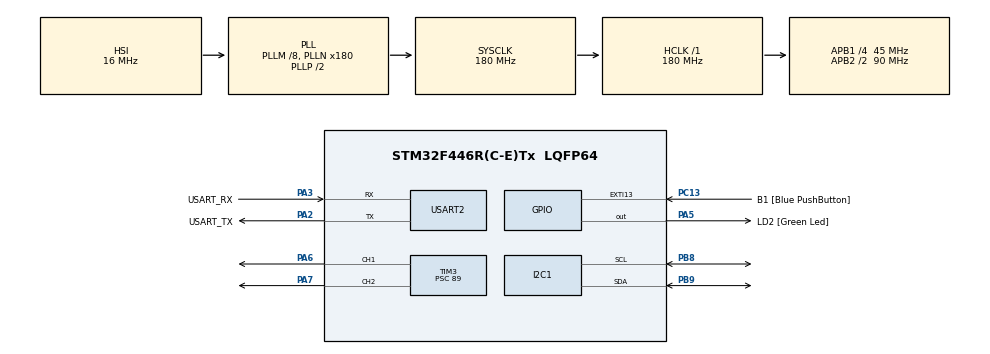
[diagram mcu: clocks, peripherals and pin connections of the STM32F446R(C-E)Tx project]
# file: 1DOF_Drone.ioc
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Dma.I2C1_RX.1.Direction=DMA_PERIPH_TO_MEMORY
Dma.I2C1_RX.1.FIFOMode=DMA_FIFOMODE_DISABLE
Dma.I2C1_RX.1.Instance=DMA1_Stream0
Dma.I2C1_RX.1.MemDataAlignment=DMA_MDATAALIGN_BYTE
Dma.I2C1_RX.1.MemInc=DMA_MINC_ENABLE
Dma.I2C1_RX.1.Mode=DMA_NORMAL
Dma.I2C1_RX.1.PeriphDataAlignment=DMA_PDATAALIGN_BYTE
Dma.I2C1_RX.1.PeriphInc=DMA_PINC_DISABLE
Dma.I2C1_RX.1.Priority=DMA_PRIORITY_HIGH
Dma.Request0=USART2_TX
Dma.Request1=I2C1_RX
Dma.USART2_TX.0.Direction=DMA_MEMORY_TO_PERIPH
Dma.USART2_TX.0.FIFOMode=DMA_FIFOMODE_DISABLE
Dma.USART2_TX.0.Instance=DMA1_Stream6
Dma.USART2_TX.0.MemDataAlignment=DMA_MDATAALIGN_BYTE
Dma.USART2_TX.0.MemInc=DMA_MINC_ENABLE
Dma.USART2_TX.0.Mode=DMA_NORMAL
Dma.USART2_TX.0.PeriphDataAlignment=DMA_PDATAALIGN_BYTE
Dma.USART2_TX.0.PeriphInc=DMA_PINC_DISABLE
Dma.USART2_TX.0.Priority=DMA_PRIORITY_LOW
I2C1.I2C_Mode=I2C_Fast
Mcu.Family=STM32F4
Mcu.Name=STM32F446R(C-E)Tx
Mcu.Package=LQFP64
NVIC.DMA1_Stream0_IRQn=true\:1\:0\:true\:false\:true\:false\:true\:true
NVIC.DMA1_Stream6_IRQn=true\:3\:0\:true\:false\:true\:false\:true\:true
NVIC.I2C1_ER_IRQn=true\:1\:0\:true\:false\:true\:true\:true\:true
NVIC.I2C1_EV_IRQn=true\:1\:0\:true\:false\:true\:true\:true\:true
NVIC.PriorityGroup=NVIC_PRIORITYGROUP_4
NVIC.TIM6_DAC_IRQn=true\:2\:0\:true\:false\:true\:true\:true\:true
NVIC.USART2_IRQn=true\:3\:0\:true\:false\:true\:true\:true\:true
PA13.GPIO_Label=TMS
PA13.Mode=Serial_Wire
PA13.Signal=SYS_JTMS-SWDIO
PA14.GPIO_Label=TCK
PA14.Mode=Serial_Wire
PA14.Signal=SYS_JTCK-SWCLK
PA2.GPIO_Label=USART_TX
PA2.Mode=Asynchronous
PA2.Signal=USART2_TX
PA3.GPIO_Label=USART_RX
PA3.Mode=Asynchronous
PA3.Signal=USART2_RX
PA5.GPIO_Label=LD2 [Green Led]
PA5.Signal=GPIO_Output
PA6.Signal=S_TIM3_CH1
PA7.Signal=S_TIM3_CH2
PB3.GPIO_Label=SWO
PB3.Signal=SYS_JTDO-SWO
PB8.Mode=I2C
PB8.Signal=I2C1_SCL
PB9.Mode=I2C
PB9.Signal=I2C1_SDA
PC13.GPIO_Label=B1 [Blue PushButton]
PC13.GPIO_ModeDefaultEXTI=GPIO_MODE_IT_FALLING
PC13.Signal=GPXTI13
PC14-OSC32_IN.Mode=LSE-External-Oscillator
PC14-OSC32_IN.Signal=RCC_OSC32_IN
PC15-OSC32_OUT.Mode=LSE-External-Oscillator
PC15-OSC32_OUT.Signal=RCC_OSC32_OUT
PH0-OSC_IN.Mode=HSE-External-Oscillator
PH0-OSC_IN.Signal=RCC_OSC_IN
PH1-OSC_OUT.Mode=HSE-External-Oscillator
PH1-OSC_OUT.Signal=RCC_OSC_OUT
ProjectManager.HeapSize=0x200
ProjectManager.StackSize=0x400
ProjectManager.TargetToolchain=STM32CubeIDE
RCC.48MHZClocksFreq_Value=84000000
RCC.AHBFreq_Value=180000000
RCC.APB1CLKDivider=RCC_HCLK_DIV4
RCC.APB1Freq_Value=45000000
RCC.APB1TimFreq_Value=90000000
RCC.APB2CLKDivider=RCC_HCLK_DIV2
RCC.APB2Freq_Value=90000000
RCC.APB2TimFreq_Value=180000000
RCC.CortexFreq_Value=180000000
RCC.FLatency-AdvancedSettings=FLASH_LATENCY_5
RCC.HCLKFreq_Value=180000000
RCC.HSE_VALUE=8000000
RCC.HSI_VALUE=16000000
RCC.PLLM=8
RCC.PLLN=180
RCC.SYSCLKFreq_VALUE=180000000
RCC.SYSCLKSource=RCC_SYSCLKSOURCE_PLLCLK
RCC.USBFreq_Value=180000000
RCC.VCOOutputFreq_Value=360000000
SH.S_TIM3_CH1.0=TIM3_CH1,PWM Generation1 CH1
SH.S_TIM3_CH2.0=TIM3_CH2,PWM Generation2 CH2
TIM3.Channel-PWM\ Generation1\ CH1=TIM_CHANNEL_1
TIM3.Channel-PWM\ Generation2\ CH2=TIM_CHANNEL_2
TIM3.Period=2499
TIM3.Prescaler=89
TIM3.Pulse-PWM\ Generation1\ CH1=1000
TIM3.Pulse-PWM\ Generation2\ CH2=1000
TIM6.Period=999
TIM6.Prescaler=899
USART2.VirtualMode=VM_ASYNC
VP_TIM3_VS_ClockSourceINT.Mode=Internal
VP_TIM6_VS_ClockSourceINT.Mode=Enable_Timer
board=NUCLEO-F446RE

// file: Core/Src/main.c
/* USER CODE BEGIN Header */
/**
  ******************************************************************************
  * @file           : main.c
  * @brief          : Main program body
  ******************************************************************************
  * @attention
  *
  * Copyright (c) 2026 STMicroelectronics.
  * All rights reserved.
  *
  * This software is licensed under terms that can be found in the LICENSE file
  * in the root directory of this software component.
  * If no LICENSE file comes with this software, it is provided AS-IS.
  *
  ******************************************************************************
  */
/* USER CODE END Header */
#include "main.h"
#include "dma.h"
#include "i2c.h"
#include "tim.h"
#include "usart.h"
#include "gpio.h"

/* USER CODE BEGIN Includes */
#include <stdio.h>
#include <string.h>
#include <math.h>
#include <stdlib.h>
/* USER CODE END Includes */

/* USER CODE BEGIN PD */
#define MPU6050_ADDR         (0x68 << 1)
#define REG_CONFIG           0x1A
#define REG_GYRO_CONFIG      0x1B
#define REG_ACCEL_CONFIG     0x1C
#define REG_ACCEL_XOUT_H     0x3B
#define REG_PWR_MGMT_1       0x6B
#define REG_WHO_AM_I         0x75

/* Fattori di conversione basati sul fondo scala impostato */
#define ACCEL_SCALE          8192.0f  // Per impostazione ±4g
#define GYRO_SCALE           65.5f    // Per impostazione ±500 dps
#define RAD_TO_DEG           57.295779513f

/* Parametri di Controllo */
#define DT                   0.01f    // Tempo di campionamento: 10ms (100 Hz)
#define ALPHA                0.98f    // Coefficiente del Filtro Complementare
#define ACCEL_OFFSET_DEG     -1.81f     // Verificato in laboratorio
/* Limiti PWM (espressi in microsecondi / impulsi del timer) */
#define PWM_MIN              1000
#define PWM_MAX              2000
#define PWM_BASE             1200     // Sostentamento minimo iniziale
/* USER CODE END PD */

/* USER CODE BEGIN PV */
uint8_t raw_data[14];        // Buffer DMA per i 14 registri dell'MPU6050
char tx_buffer[128];         // Buffer per telemetria seriale
uint8_t rx_byte;             // Singolo byte ricevuto da UART
char rx_buffer[64];          // Buffer accumulo comandi PC
uint8_t rx_index = 0;

/* Stato di armamento motori */
volatile uint8_t system_armed = 0;

/* Stato Attitudine */
volatile float angolo_stimato = 0.0f;
volatile float target_angle = 0.0f;
volatile float gyro_offset = 0.0f;

/* Guadagni PID Singolo Anello (Aggiornabili da seriale) */
volatile float Kp = 0.0f;
volatile float Ki = 0.0f;
volatile float Kd = 0.0f;

/* Memoria Integratore */
volatile float errore_integrale = 0.0f;
/* USER CODE END PV */

void SystemClock_Config(void);
/* USER CODE BEGIN PFP */
void MPU6050_Init(void);
void Parse_Command(char* cmd);
/* USER CODE END PFP */

int main(void)
{

  /* MCU Configuration--------------------------------------------------------*/

  /* Reset of all peripherals, Initializes the Flash interface and the Systick. */
  HAL_Init();

  /* Configure the system clock */
  SystemClock_Config();

  /* Initialize all configured peripherals */
  MX_GPIO_Init();
  MX_DMA_Init();
  MX_USART2_UART_Init();
  MX_I2C1_Init();
  MX_TIM3_Init();
  MX_TIM6_Init();

  /* USER CODE BEGIN 2 */
  /* Configurazione e sveglia dell'IMU */
  MPU6050_Init();

  /* Avvio dei canali PWM per i due motori (Iniziano inviando il minimo a 1ms) */
  HAL_TIM_PWM_Start(&htim3, TIM_CHANNEL_1);
  HAL_TIM_PWM_Start(&htim3, TIM_CHANNEL_2);
  __HAL_TIM_SET_COMPARE(&htim3, TIM_CHANNEL_1, PWM_MIN);
  __HAL_TIM_SET_COMPARE(&htim3, TIM_CHANNEL_2, PWM_MIN);

  /* --- ROUTINE DI AUTO-CALIBRAZIONE GYRO (1 Secondo) --- */
  float sum_gyro = 0.0f;
  int num_samples = 100;

  // ATTESA ASSESTAMENTO MECCANICO (2 secondi)
  // HAL_Delay(2000);

  for (int i = 0; i < num_samples; i++) {
      uint8_t calib_data[14];
      HAL_I2C_Mem_Read(&hi2c1, MPU6050_ADDR, REG_ACCEL_XOUT_H, I2C_MEMADD_SIZE_8BIT, calib_data, 14, 100);

      int16_t raw_gx = (calib_data[8] << 8) | calib_data[9];
      sum_gyro += ((float)raw_gx / GYRO_SCALE);

      // Refresh del segnale di sicurezza ESC durante il delay
      __HAL_TIM_SET_COMPARE(&htim3, TIM_CHANNEL_1, PWM_MIN);
      __HAL_TIM_SET_COMPARE(&htim3, TIM_CHANNEL_2, PWM_MIN);

      HAL_Delay(10);
  }

  gyro_offset = sum_gyro / (float)num_samples;
  angolo_stimato = 0.0f;

  /* Abilitazione ricezione seriale e Timer Interrupt per loop di controllo */
  HAL_UART_Receive_IT(&huart2, &rx_byte, 1);
  HAL_TIM_Base_Start_IT(&htim6);
  /* USER CODE END 2 */

  /* Infinite loop */
  while (1)
  {

  }
}

void SystemClock_Config(void)
{
  RCC_OscInitTypeDef RCC_OscInitStruct = {0};
  RCC_ClkInitTypeDef RCC_ClkInitStruct = {0};

  /** Configure the main internal regulator output voltage
  */
  __HAL_RCC_PWR_CLK_ENABLE();
  __HAL_PWR_VOLTAGESCALING_CONFIG(PWR_REGULATOR_VOLTAGE_SCALE1);

  /** Initializes the RCC Oscillators according to the specified parameters
  * in the RCC_OscInitTypeDef structure.
  */
  RCC_OscInitStruct.OscillatorType = RCC_OSCILLATORTYPE_HSI;
  RCC_OscInitStruct.HSIState = RCC_HSI_ON;
  RCC_OscInitStruct.HSICalibrationValue = RCC_HSICALIBRATION_DEFAULT;
  RCC_OscInitStruct.PLL.PLLState = RCC_PLL_ON;
  RCC_OscInitStruct.PLL.PLLSource = RCC_PLLSOURCE_HSI;
  RCC_OscInitStruct.PLL.PLLM = 8;
  RCC_OscInitStruct.PLL.PLLN = 180;
  RCC_OscInitStruct.PLL.PLLP = RCC_PLLP_DIV2;
  RCC_OscInitStruct.PLL.PLLQ = 2;
  RCC_OscInitStruct.PLL.PLLR = 2;
  if (HAL_RCC_OscConfig(&RCC_OscInitStruct) != HAL_OK)
  {
    Error_Handler();
  }

  /** Activate the Over-Drive mode
  */
  if (HAL_PWREx_EnableOverDrive() != HAL_OK)
  {
    Error_Handler();
  }

  /** Initializes the CPU, AHB and APB buses clocks
  */
  RCC_ClkInitStruct.ClockType = RCC_CLOCKTYPE_HCLK|RCC_CLOCKTYPE_SYSCLK
                              |RCC_CLOCKTYPE_PCLK1|RCC_CLOCKTYPE_PCLK2;
  RCC_ClkInitStruct.SYSCLKSource = RCC_SYSCLKSOURCE_PLLCLK;
  RCC_ClkInitStruct.AHBCLKDivider = RCC_SYSCLK_DIV1;
  RCC_ClkInitStruct.APB1CLKDivider = RCC_HCLK_DIV4;
  RCC_ClkInitStruct.APB2CLKDivider = RCC_HCLK_DIV2;

  if (HAL_RCC_ClockConfig(&RCC_ClkInitStruct, FLASH_LATENCY_5) != HAL_OK)
  {
    Error_Handler();
  }
}

/* USER CODE BEGIN 4 */
/* --- DISPATCHER DEL TIMER (100 Hz / Ogni 10 ms) --- */
void HAL_TIM_PeriodElapsedCallback(TIM_HandleTypeDef *htim) {
    if (htim->Instance == TIM6) {
        /* Avvia la transazione I2C via DMA per i 14 byte consecutivi del sensore.*/
        HAL_I2C_Mem_Read_DMA(&hi2c1, MPU6050_ADDR, REG_ACCEL_XOUT_H, I2C_MEMADD_SIZE_8BIT, raw_data, 14);
    }
}

void HAL_UART_ErrorCallback(UART_HandleTypeDef *huart){
	if (huart->Instance == USART2) {
		HAL_UART_Receive_IT(&huart2, &rx_byte, 1);
	}
}

/* --- CALCOLO PID ED ESECUZIONE (CALLBACK COMPLETAMENTO I2C) --- */
void HAL_I2C_MemRxCpltCallback(I2C_HandleTypeDef *hi2c) {
    if (hi2c->Instance == I2C1) {

        /* 1. ESTRAZIONE DATI E CONVERSIONE IN UNITÀ FISICHE */
        int16_t raw_ay = (raw_data[2] << 8) | raw_data[3];
        int16_t raw_az = (raw_data[4] << 8) | raw_data[5];
        int16_t raw_gx = (raw_data[8] << 8) | raw_data[9];

        float ay = (float)raw_ay / ACCEL_SCALE;
        float az = -((float)raw_az / ACCEL_SCALE);
        float gyro_rate = -((float)raw_gx / GYRO_SCALE) - gyro_offset;

        /* 2. FILTRO COMPLEMENTARE (SENSOR FUSION) */
        // Calcolo geometrico dell'angolo di inclinazione
        float angolo_acc = (atan2f(ay, az) * RAD_TO_DEG) - ACCEL_OFFSET_DEG;

        // Integrazione e fusione
        angolo_stimato = ALPHA * (angolo_stimato + gyro_rate * DT) + (1.0f - ALPHA) * angolo_acc;

        /* 3. ALGORITMO PID SINGOLO ANELLO */
        float errore = target_angle - angolo_stimato;

        // Proporzionale
        float P_term = Kp * errore;

        // Integrale con Anti-Windup saturato a ±300 microsecondi PWM
        if (system_armed == 1){
        	errore_integrale += errore * DT;
        } else {
        	errore_integrale = 0.0f;
        }

        float max_integral = (Ki > 0.0f) ? (300.0f / Ki) : 0.0f;
        if (errore_integrale > max_integral)  errore_integrale = max_integral;
        if (errore_integrale < -max_integral) errore_integrale = -max_integral;

        float I_term = Ki * errore_integrale;

        // Derivativo basato sulla misura diretta del Giroscopio (No Kick, Zero Rumore)
        float D_term = -Kd * gyro_rate;

        // Output totale di controllo
        float output_controllo = P_term + I_term + D_term;

        /* 4. ATTUAZIONE DIFFERENZIALE MOTORI */
        int32_t pwm_motore1 = PWM_MIN;
        int32_t pwm_motore2 = PWM_MIN;

        if (system_armed == 1) {
            pwm_motore1 = (int32_t)(PWM_BASE + output_controllo);
            pwm_motore2 = (int32_t)(PWM_BASE - output_controllo);

            // Saturazione entro il range operativo degli ESC
            if (pwm_motore1 > PWM_MAX) pwm_motore1 = PWM_MAX;
            if (pwm_motore1 < PWM_MIN) pwm_motore1 = PWM_MIN;
            if (pwm_motore2 > PWM_MAX) pwm_motore2 = PWM_MAX;
            if (pwm_motore2 < PWM_MIN) pwm_motore2 = PWM_MIN;
        }

        __HAL_TIM_SET_COMPARE(&htim3, TIM_CHANNEL_1, pwm_motore1);
        __HAL_TIM_SET_COMPARE(&htim3, TIM_CHANNEL_2, pwm_motore2);

        /* 5. TELEMETRIA SERIALE DMA */
        if (huart2.gState == HAL_UART_STATE_READY) {
            int len = sprintf(tx_buffer, "%.2f,%.2f,%d,%d\r\n",
                              target_angle,
                              angolo_stimato,
                              (int)pwm_motore1,
                              (int)pwm_motore2);
            HAL_UART_Transmit_DMA(&huart2, (uint8_t*)tx_buffer, len);
        }
    }
}

/* --- RICEZIONE COMANDI UART --- */
void HAL_UART_RxCpltCallback(UART_HandleTypeDef *huart) {
    if (huart->Instance == USART2) {
        if (rx_byte == '\n' || rx_byte == '\r') {
            if (rx_index > 0) {
                rx_buffer[rx_index] = '\0';
                Parse_Command(rx_buffer);
                rx_index = 0;
            }
        } else {
            if (rx_index < sizeof(rx_buffer) - 1) {
                rx_buffer[rx_index++] = rx_byte;
            }
        }
        HAL_UART_Receive_IT(&huart2, &rx_byte, 1);
    }
}

/* --- PARSER COMANDI DA PYTHON --- */
void Parse_Command(char* cmd) {
    if (cmd[0] == 'T' && cmd[1] == ':') {
        float nuovo_target = (float)atof(cmd + 2);
        if (nuovo_target > 18.0f) target_angle = 18.0f;
        else if (nuovo_target < -18.0f) target_angle = -18.0f;
        else target_angle = nuovo_target;
    }
    else if (cmd[0] == 'P' && cmd[1] == ':') {
        Kp = (float)atof(cmd + 2);
    }
    else if (cmd[0] == 'I' && cmd[1] == ':') {
        Ki = (float)atof(cmd + 2);
        errore_integrale = 0.0f;
    }
    else if (cmd[0] == 'D' && cmd[1] == ':') {
        Kd = (float)atof(cmd + 2);
    }
    else if (cmd[0] == 'S' && cmd[1] == ':') {
        int stato = atoi(cmd + 2);
        if (stato == 1) {
            system_armed = 1;
        } else {
            system_armed = 0;
            errore_integrale = 0.0f;
        }
    }
}

/* --- INIZIALIZZAZIONE HARDWARE MPU6050 --- */
void MPU6050_Init(void) {
    uint8_t check = 0;
    uint8_t write_reg = 0;

    HAL_I2C_Mem_Read(&hi2c1, MPU6050_ADDR, REG_WHO_AM_I, I2C_MEMADD_SIZE_8BIT, &check, 1, 1000);
    if (check != 0x68) {
        while(1); // Sensore non trovato
    }

    // 1. Wake up & impostazione sorgente clock su Gyro X
    write_reg = 0x01;
    HAL_I2C_Mem_Write(&hi2c1, MPU6050_ADDR, REG_PWR_MGMT_1, I2C_MEMADD_SIZE_8BIT, &write_reg, 1, 1000);

    // 2. Filtro DLPF interno a ~42Hz
    write_reg = 0x03;
    HAL_I2C_Mem_Write(&hi2c1, MPU6050_ADDR, REG_CONFIG, I2C_MEMADD_SIZE_8BIT, &write_reg, 1, 1000);

    // 3. Giroscopio a ±500 dps
    write_reg = 0x08;
    HAL_I2C_Mem_Write(&hi2c1, MPU6050_ADDR, REG_GYRO_CONFIG, I2C_MEMADD_SIZE_8BIT, &write_reg, 1, 1000);

    // 4. Accelerometro a ±4g
    write_reg = 0x08;
    HAL_I2C_Mem_Write(&hi2c1, MPU6050_ADDR, REG_ACCEL_CONFIG, I2C_MEMADD_SIZE_8BIT, &write_reg, 1, 1000);
}
/* USER CODE END 4 */

void Error_Handler(void)
{
  __disable_irq();
  while (1)
  {
  }
}
